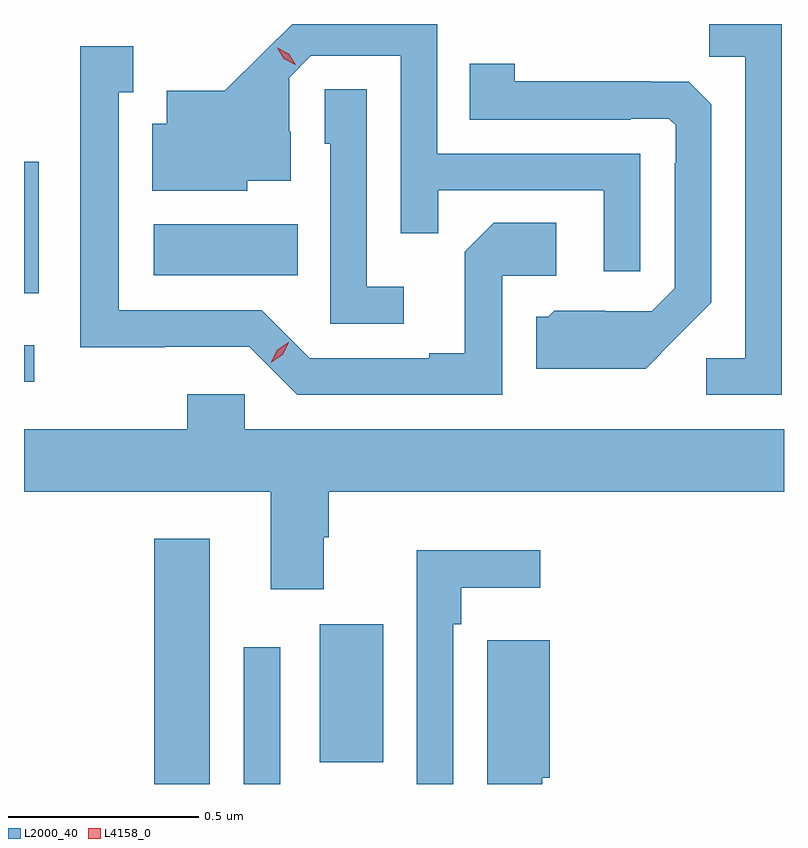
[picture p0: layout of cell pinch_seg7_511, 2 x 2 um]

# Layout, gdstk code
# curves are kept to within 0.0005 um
import gdstk
lib = gdstk.Library(unit=1e-6, precision=1e-09)
def R(c, l, rs):  # rectangles x0, y0, x1, y1
    for r in rs: c.add(gdstk.rectangle(r[:2], r[2:], *l))
def P(c, l, *ps):  # polygons
    for p in ps: c.add(gdstk.Polygon(p, *l))
L2000_40 = (2000, 40)
L4158_0 = (4158, 0)

pinch_seg7_511 = lib.new_cell('pinch_seg7_511')
R(pinch_seg7_511, L2000_40, [(204.422,1063.783,204.568,1064.428), (204.657,1063.783,204.753,1064.143), (204.857,1063.84,205.024,1064.203), (204.079,1064.841,204.106,1064.938), (204.079,1065.074,204.118,1065.421), (204.42,1065.122,204.8,1065.256)])
P(pinch_seg7_511, L2000_40, [(206.073,1065.783),(205.882,1065.783),(205.882,1065.697),(205.977,1065.697),(205.977,1064.904),(205.875,1064.904),(205.875,1064.808),(206.073,1064.808)],
  [(205.701,1065.441),(205.167,1065.441),(205.167,1065.783),(204.785,1065.783),(204.607,1065.607),(204.455,1065.607),(204.455,1065.52),(204.416,1065.52),(204.416,1065.344),(204.666,1065.344),(204.666,1065.371),(204.781,1065.371),(204.781,1065.5),(204.777,1065.5),(204.777,1065.642),(204.834,1065.699),(205.071,1065.699),(205.071,1065.232),(205.169,1065.232),(205.169,1065.345),(205.605,1065.345),(205.605,1065.132),(205.701,1065.132)],
  [(205.338,1065.12),(205.48,1065.12),(205.48,1065.26),(205.315,1065.26),(205.239,1065.184),(205.239,1064.917),(205.145,1064.917),(205.145,1064.904),(204.831,1064.904),(204.705,1065.03),(204.328,1065.03),(204.328,1065.603),(204.367,1065.603),(204.367,1065.724),(204.227,1065.724),(204.227,1064.933),(204.45,1064.933),(204.45,1064.934),(204.672,1064.934),(204.798,1064.808),(205.338,1064.808)],
  [(205.795,1064.957),(205.887,1065.05),(205.887,1065.572),(205.828,1065.631),(205.727,1065.631),(205.727,1065.632),(205.371,1065.632),(205.371,1065.679),(205.252,1065.679),(205.252,1065.531),(205.676,1065.531),(205.676,1065.534),(205.776,1065.534),(205.794,1065.516),(205.794,1065.416),(205.791,1065.416),(205.791,1065.087),(205.731,1065.027),(205.608,1065.027),(205.608,1065.028),(205.474,1065.028),(205.458,1065.012),(205.427,1065.012),(205.427,1064.876),(205.715,1064.876)],
  [(205.078,1065.091),(204.981,1065.091),(204.981,1065.611),(204.87,1065.611),(204.87,1065.468),(204.885,1065.468),(204.885,1064.994),(205.078,1064.994)],
  [(204.868,1064.432),(204.881,1064.432),(204.881,1064.552),(206.079,1064.552),(206.079,1064.716),(204.66,1064.716),(204.66,1064.809),(204.509,1064.809),(204.509,1064.716),(204.079,1064.716),(204.079,1064.552),(204.728,1064.552),(204.728,1064.295),(204.868,1064.295)],
  [(205.209,1064.204),(205.229,1064.204),(205.229,1064.3),(205.438,1064.3),(205.438,1064.398),(205.113,1064.398),(205.113,1063.783),(205.209,1063.783)],
  [(205.443,1063.8),(205.462,1063.8),(205.462,1064.161),(205.298,1064.161),(205.298,1063.783),(205.443,1063.783)])
P(pinch_seg7_511, L4158_0, [(204.793,1065.676),(204.763,1065.691),(204.746,1065.72),(204.746,1065.72),(204.746,1065.72),(204.776,1065.705),(204.794,1065.676),(204.794,1065.676)],
  [(204.728,1064.892),(204.728,1064.892),(204.745,1064.926),(204.776,1064.945),(204.776,1064.945),(204.776,1064.945),(204.76,1064.912),(204.728,1064.892)])

lib.write_gds('pinch_seg7_511.gds')
